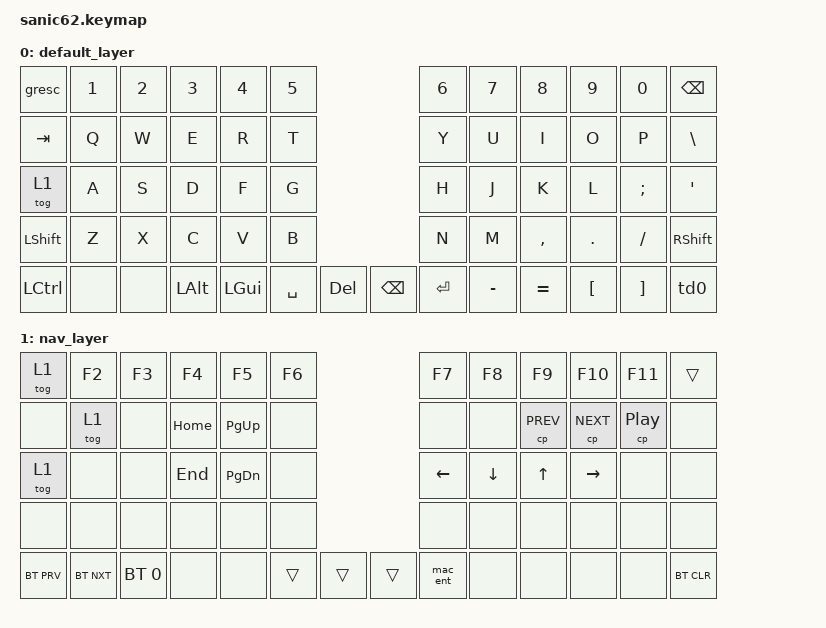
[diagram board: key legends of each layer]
/*
 * Copyright (c) 2022 Derek Schmell, Lucas Messenger
 *
 * SPDX-License-Identifier: MIT
 */

#include <behaviors.dtsi>
#include <dt-bindings/zmk/keys.h>
#include <dt-bindings/zmk/bt.h>
#include <dt-bindings/zmk/outputs.h>

/ {
    macros {
        mac_ent: mac_ent {
            label = "macro_enter_tog";
            compatible = "zmk,behavior-macro";
            #binding-cells = <0>;
            bindings = <&macro_tap &kp RET>, <&macro_tap &tog 1>;
        };

        mac_lock: mac_lock {
            label = "macro_mac_lock";
            compatible = "zmk,behavior-macro";
            wait-ms = <0>;
            #binding-cells = <0>;
            bindings = <&macro_press &kp LCTL &kp LGUI &kp Q>
                     , <&macro_pause_for_release>
                     , <&macro_release &kp LCTL &kp LGUI &kp Q>
                     ;
        };
    };

    behaviors {
        gresc: grave_escape {
            keep-mods = <(MOD_LSFT|MOD_RSFT)>;
        };
    };

    td0: tap_dance_0 {
            compatible = "zmk,behavior-tap-dance";
            label = "TAP_DANCE_0";
            tapping-term-ms = <200>;
            #binding-cells = <0>;
            bindings = <&kp RCTRL>, <&mac_lock>;
        };

    keymap {
        compatible = "zmk,keymap";

            default_layer {
                bindings = <
&gresc      &kp N1     &kp N2       &kp N3     &kp N4     &kp N5                        &kp N6    &kp N7     &kp N8     &kp N9     &kp N0     &kp BKSP
&kp TAB     &kp Q      &kp W        &kp E      &kp R      &kp T                         &kp Y     &kp U      &kp I      &kp O      &kp P      &kp BSLH
&tog 1      &kp A      &kp S        &kp D      &kp F      &kp G                         &kp H     &kp J      &kp K      &kp L      &kp SCLN   &kp QUOT
&kp LSHFT   &kp Z      &kp X        &kp C      &kp V      &kp B                         &kp N     &kp M      &kp COMMA  &kp DOT    &kp FSLH   &kp RSHFT
&kp LCTRL   &none      &none        &kp LALT   &kp LGUI   &kp SPC &kp DEL     &kp BKSP  &kp RET   &kp MINUS  &kp EQL    &kp LBKT   &kp RBKT   &td0
                        >;
                };
    nav_layer {
        bindings = <
&tog 1      &kp F2     &kp F3       &kp F4     &kp F5     &kp F6                        &kp F7    &kp F8     &kp F9     &kp F10    &kp F11    &trans
&none       &tog 1     &none        &kp HOME   &kp PG_UP  &none                         &none     &none      &cp C_PREV &cp C_NEXT &cp C_PP   &none
&tog 1      &none      &none        &kp END    &kp PG_DN  &none                         &kp LEFT  &kp DOWN   &kp UP     &kp RIGHT  &none      &none
&none       &none      &none        &none      &none      &none                         &none     &none      &none      &none      &none      &none
&bt BT_PRV  &bt BT_NXT &bt BT_SEL 0 &none      &none      &trans    &trans     &trans   &mac_ent  &none      &none      &none      &none      &bt BT_CLR
                        >;
                };

        };
};
